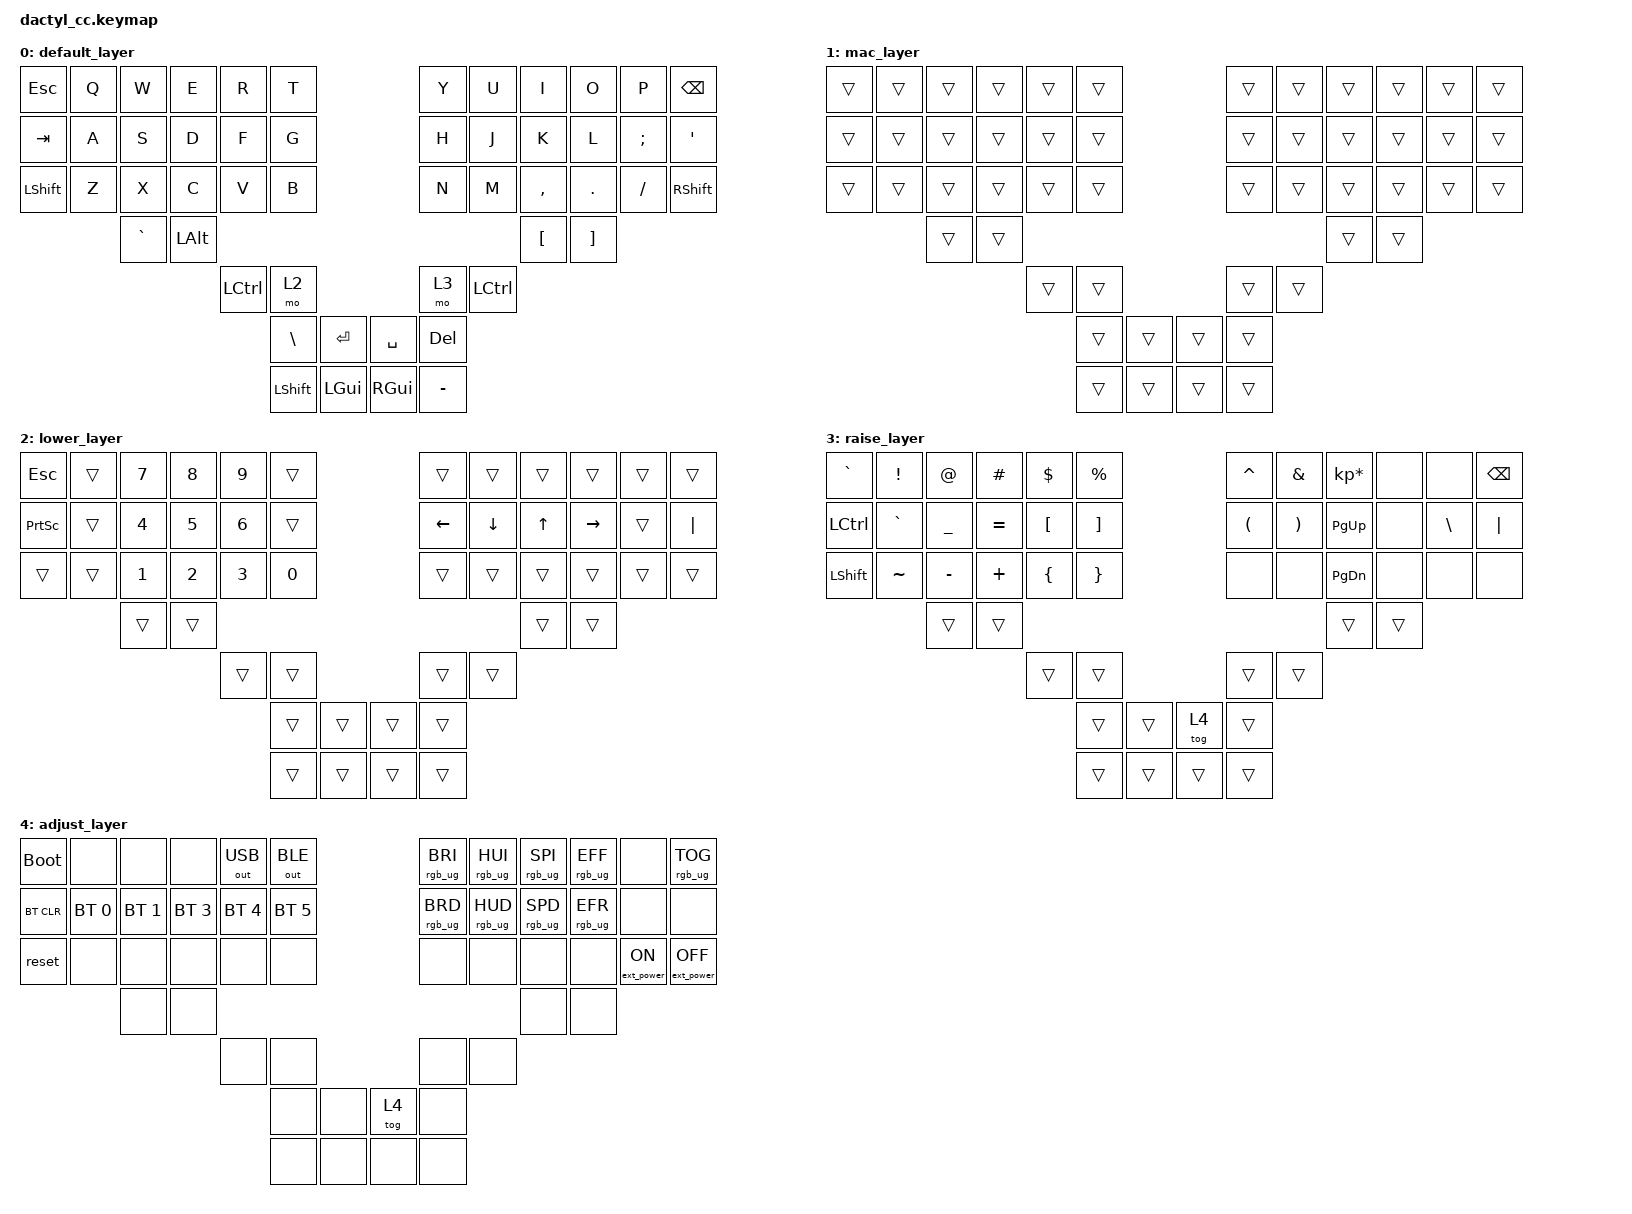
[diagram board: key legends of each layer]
#include <behaviors.dtsi>
#include <dt-bindings/zmk/keys.h>
#include <dt-bindings/zmk/bt.h>
#include <dt-bindings/zmk/rgb.h>
#include <dt-bindings/zmk/outputs.h>
#include <dt-bindings/zmk/ext_power.h>

#define DEFAULT 0
#define MAC     1
#define LOWER   2
#define RAISE   3
#define ADJUST  4

#define HYPER(key) LS(LC(LA(LG(key))))
#define MEH(key)   LS(LC(LA(key)))

&sl {
    release-after-ms = <5000>;
};


&kscan0 {
    debounce-press-ms = <30>;
    debounce-release-ms = <30>;
};

/ {
    keymap {
        compatible = "zmk,keymap";

        default_layer {
            bindings = <
    &kp ESC   &kp Q     &kp W     &kp E     &kp R     &kp T                              &kp Y     &kp U     &kp I      &kp O     &kp P     &kp BSPC
    &kp TAB   &kp A     &kp S     &kp D     &kp F     &kp G                              &kp H     &kp J     &kp K      &kp L     &kp SEMI  &kp SQT
    &kp LSHFT &kp Z     &kp X     &kp C     &kp V     &kp B                              &kp N     &kp M     &kp COMMA  &kp DOT   &kp FSLH  &kp RSHFT
                        &kp GRAVE &kp LALT                                                                   &kp LBKT   &kp RBKT
                                            &kp LCTRL &mo 2                              &mo 3     &kp LCTRL
                                                      &kp BSLH  &kp RET     &kp SPACE    &kp DEL
                                                      &kp LSHFT &kp LGUI    &kp RGUI     &kp MINUS
            >;
        };

        mac_layer {
            bindings = <  
    &trans   &trans     &trans     &trans     &trans     &trans                     &trans     &trans    &trans    &trans    &trans   &trans  
    &trans   &trans     &trans     &trans     &trans     &trans                     &trans     &trans    &trans    &trans    &trans   &trans  
    &trans   &trans     &trans     &trans     &trans     &trans                     &trans     &trans    &trans    &trans    &trans   &trans  
                        &trans     &trans                                                                &trans    &trans     
                                              &trans     &trans                     &trans     &trans 
                                                         &trans   &trans   &trans   &trans 
                                                         &trans   &trans   &trans   &trans    
            >;
        };

        lower_layer {
            bindings = <
    &kp ESC   &trans     &kp N7     &kp N8     &kp N9     &trans                     &trans     &trans    &trans    &trans    &trans   &trans  
    &kp PSCRN &trans     &kp N4     &kp N5     &kp N6     &trans                     &kp LEFT   &kp DOWN  &kp UP    &kp RIGHT &trans   &kp PIPE  
    &trans    &trans     &kp N1     &kp N2     &kp N3     &kp N0                     &trans     &trans    &trans    &trans    &trans   &trans  
                         &trans     &trans                                                                &trans    &trans     
                                               &trans     &trans                     &trans     &trans 
                                                          &trans   &trans   &trans   &trans 
                                                          &trans   &trans   &trans   &trans    
            >;       };

        raise_layer {
            bindings = <
   &kp GRAVE &kp EXCL    &kp AT      &kp HASH    &kp DLLR  &kp PRCNT                  &kp CARET &kp AMPS  &kp KP_MULTIPLY &none     &none     &kp BSPC
   &kp LCTRL &kp GRAVE   &kp UNDER   &kp EQUAL   &kp LBKT  &kp RBKT                   &kp LPAR  &kp RPAR  &kp PG_UP       &none     &kp BSLH  &kp PIPE
   &kp LSHFT &kp TILDE   &kp MINUS   &kp PLUS    &kp LBRC  &kp RBRC                   &none     &none     &kp PG_DN       &none     &none     &none  
                         &trans      &trans                                                               &trans          &trans     
                                                 &trans    &trans                     &trans    &trans 
                                                           &trans   &trans   &tog 4   &trans 
                                                           &trans   &trans   &trans   &trans   
            >;
        };

        adjust_layer {
            bindings = <
    &bootloader &none        &none        &none        &out OUT_USB &out OUT_BLE               &rgb_ug RGB_BRI  &rgb_ug RGB_HUI  &rgb_ug RGB_SPI  &rgb_ug RGB_EFF  &none             &rgb_ug RGB_TOG  
    &bt BT_CLR  &bt BT_SEL 0 &bt BT_SEL 1 &bt BT_SEL 3 &bt BT_SEL 4 &bt BT_SEL 5               &rgb_ug RGB_BRD  &rgb_ug RGB_HUD  &rgb_ug RGB_SPD  &rgb_ug RGB_EFR  &none             &none  
    &reset      &none        &none        &none        &none        &none                      &none            &none            &none            &none            &ext_power EP_ON  &ext_power EP_OFF  
                             &none        &none                                                                                  &none            &none     
                                                       &none        &none                      &none            &none 
                                                                    &none   &none      &tog 4  &none 
                                                                    &none   &none      &none   &none    
            >;
        };
    };
};
